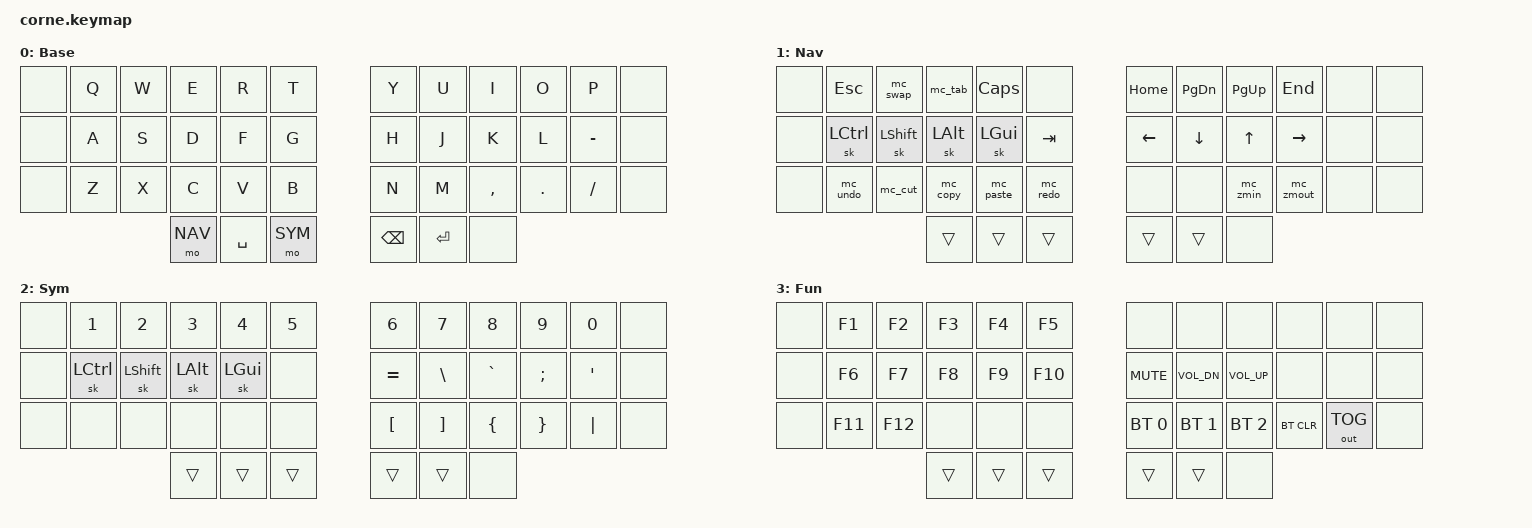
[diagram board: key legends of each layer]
/*
 * Corne 36-key OSM keymap
 * hold-tap 完全排除、Callum式 One-Shot ベース
 * Atreus と同じ設計
 */

#include <behaviors.dtsi>
#include <dt-bindings/zmk/bt.h>
#include <dt-bindings/zmk/keys.h>
#include <dt-bindings/zmk/outputs.h>

#define BASE 0
#define NAV  1
#define SYM  2
#define FUN  3

/ {
    // --- Macros ---
    macros {
        // Swapper（Cmd+Tab: キーを離すまでCmdを保持）
        mc_swap: mc_swap {
            compatible = "zmk,behavior-macro";
            #binding-cells = <0>;
            wait-ms = <30>;
            tap-ms = <30>;
            bindings = <&macro_press &kp LGUI>, <&macro_tap &kp TAB>, <&macro_pause_for_release>, <&macro_release &kp LGUI>;
        };
        // Tabber（Ctrl+Tab: キーを離すまでCtrlを保持）
        mc_tab: mc_tab {
            compatible = "zmk,behavior-macro";
            #binding-cells = <0>;
            wait-ms = <30>;
            tap-ms = <30>;
            bindings = <&macro_press &kp LCTRL>, <&macro_tap &kp TAB>, <&macro_pause_for_release>, <&macro_release &kp LCTRL>;
        };
        // Undo (Cmd+Z)
        mc_undo: mc_undo {
            compatible = "zmk,behavior-macro";
            #binding-cells = <0>;
            wait-ms = <30>;
            tap-ms = <30>;
            bindings = <&macro_press &kp LGUI>, <&macro_tap &kp Z>, <&macro_release &kp LGUI>;
        };
        // Cut (Cmd+X)
        mc_cut: mc_cut {
            compatible = "zmk,behavior-macro";
            #binding-cells = <0>;
            wait-ms = <30>;
            tap-ms = <30>;
            bindings = <&macro_press &kp LGUI>, <&macro_tap &kp X>, <&macro_release &kp LGUI>;
        };
        // Copy (Cmd+C)
        mc_copy: mc_copy {
            compatible = "zmk,behavior-macro";
            #binding-cells = <0>;
            wait-ms = <30>;
            tap-ms = <30>;
            bindings = <&macro_press &kp LGUI>, <&macro_tap &kp C>, <&macro_release &kp LGUI>;
        };
        // Paste (Cmd+V)
        mc_paste: mc_paste {
            compatible = "zmk,behavior-macro";
            #binding-cells = <0>;
            wait-ms = <30>;
            tap-ms = <30>;
            bindings = <&macro_press &kp LGUI>, <&macro_tap &kp V>, <&macro_release &kp LGUI>;
        };
        // Redo (Cmd+Shift+Z)
        mc_redo: mc_redo {
            compatible = "zmk,behavior-macro";
            #binding-cells = <0>;
            wait-ms = <30>;
            tap-ms = <30>;
            bindings = <&macro_press &kp LGUI>, <&macro_press &kp LSHFT>, <&macro_tap &kp Z>, <&macro_release &kp LSHFT>, <&macro_release &kp LGUI>;
        };
        // Zoom In (Cmd+=)
        mc_zmin: mc_zmin {
            compatible = "zmk,behavior-macro";
            #binding-cells = <0>;
            wait-ms = <30>;
            tap-ms = <30>;
            bindings = <&macro_press &kp LGUI>, <&macro_tap &kp EQUAL>, <&macro_release &kp LGUI>;
        };
        // Zoom Out (Cmd+-)
        mc_zmout: mc_zmout {
            compatible = "zmk,behavior-macro";
            #binding-cells = <0>;
            wait-ms = <30>;
            tap-ms = <30>;
            bindings = <&macro_press &kp LGUI>, <&macro_tap &kp MINUS>, <&macro_release &kp LGUI>;
        };
    };

    // --- Combos ---
    // Corne key positions:
    // Row 0:  0  1  2  3  4  5  |  6  7  8  9 10 11
    // Row 1: 12 13 14 15 16 17  | 18 19 20 21 22 23
    // Row 2: 24 25 26 27 28 29  | 30 31 32 33 34 35
    // Thumb:       36 37 38     |    39 40 41
    //            NAV SPC SYM    | BSPC ENT ---
    combos {
        compatible = "zmk,combos";

        // SPC(37) + BSPC(39) → LNG1 (IME ON)
        combo_lng1 {
            timeout-ms = <50>;
            require-prior-idle-ms = <150>;
            key-positions = <37 39>;
            bindings = <&kp LANGUAGE_1>;
            layers = <BASE>;
        };

        // BSPC(39) + ENT(40) → LNG2 (IME OFF)
        combo_lng2 {
            timeout-ms = <50>;
            require-prior-idle-ms = <150>;
            key-positions = <39 40>;
            bindings = <&kp LANGUAGE_2>;
            layers = <BASE>;
        };

        // D(15) + F(16) → Ctrl+B (tmux prefix)
        combo_tmux_prefix {
            timeout-ms = <80>;
            require-prior-idle-ms = <150>;
            key-positions = <15 16>;
            bindings = <&kp LC(B)>;
            layers = <BASE>;
        };
    };

    // --- Conditional Layer (NAV + SYM = FUN) ---
    conditional_layers {
        compatible = "zmk,conditional-layers";
        tri_layer {
            if-layers = <NAV SYM>;
            then-layer = <FUN>;
        };
    };

    // --- Keymap ---
    keymap {
        compatible = "zmk,keymap";

        // Base Layer
        //   Q    W    E    R    T  │  Y    U    I    O    P
        //   A    S    D    F    G  │  H    J    K    L    -
        //   Z    X    C    V    B  │  N    M    ,    .    /
        //             NAV  SPC SYM │  BSPC ENT  ---
        BASE_layer {
            display-name = "Base";
            bindings = <
&none  &kp Q  &kp W  &kp E     &kp R    &kp T        &kp Y     &kp U    &kp I      &kp O    &kp P      &none
&none  &kp A  &kp S  &kp D     &kp F    &kp G        &kp H     &kp J    &kp K      &kp L    &kp MINUS  &none
&none  &kp Z  &kp X  &kp C     &kp V    &kp B        &kp N     &kp M    &kp COMMA  &kp DOT  &kp FSLH   &none
                     &mo NAV   &kp SPC  &mo SYM      &kp BSPC  &kp RET  &none
            >;
        };

        // NAV Layer（左内側親指）
        //   ESC  SWAP STAB CAPS ---  │  HOME PGDN PGUP END  ---
        //   skCTL skSFT skALT skGUI TAB│ LEFT DOWN UP  RGHT ---
        //   UNDO CUT  COPY PST REDO │  ---  ---  ZM+  ZM-  ---
        //             ___  ___  ___ │  ___  ___  ---
        NAV_layer {
            display-name = "Nav";
            bindings = <
&none  &kp ESC      &mc_swap   &mc_tab    &kp CAPS    &none          &kp HOME  &kp PG_DN  &kp PG_UP  &kp END    &none      &none
&none  &sk LCTRL    &sk LSHFT  &sk LALT   &sk LGUI    &kp TAB        &kp LEFT  &kp DOWN   &kp UP     &kp RIGHT  &none      &none
&none  &mc_undo     &mc_cut    &mc_copy   &mc_paste   &mc_redo       &none     &none      &mc_zmin   &mc_zmout  &none      &none
                               &trans     &trans      &trans         &trans    &trans     &none
            >;
        };

        // SYM Layer（左外側親指）
        //   1    2    3    4    5  │  6    7    8    9    0
        //   skCTL skSFT skALT skGUI --- │  =    \    `    ;    '
        //   ---  ---  ---  ---  ---│  [    ]    {    }    |
        //             ___  ___  ___│  ___  ___  ---
        SYM_layer {
            display-name = "Sym";
            bindings = <
&none  &kp N1     &kp N2     &kp N3    &kp N4    &kp N5       &kp N6    &kp N7    &kp N8    &kp N9    &kp N0    &none
&none  &sk LCTRL  &sk LSHFT  &sk LALT  &sk LGUI  &none        &kp EQUAL &kp BSLH  &kp GRAVE &kp SEMI  &kp SQT   &none
&none  &none      &none      &none     &none     &none        &kp LBKT  &kp RBKT  &kp LBRC  &kp RBRC  &kp PIPE  &none
                             &trans    &trans    &trans       &trans    &trans    &none
            >;
        };

        // FUN Layer（NAV + SYM 同時）
        //   F1   F2   F3   F4   F5 │  ---  ---  ---  ---  ---
        //   F6   F7   F8   F9   F10│  MUTE VOLD VOLU ---  ---
        //   F11  F12  ---  ---  ---│  BT0  BT1  BT2  BTCLR OUTTOG
        //             ___  ___  ___│  ___  ___  ---
        FUN_layer {
            display-name = "Fun";
            bindings = <
&none  &kp F1   &kp F2   &kp F3  &kp F4  &kp F5       &none         &none         &none         &none       &none       &none
&none  &kp F6   &kp F7   &kp F8  &kp F9  &kp F10      &kp K_MUTE    &kp K_VOL_DN  &kp K_VOL_UP  &none       &none       &none
&none  &kp F11  &kp F12  &none   &none   &none        &bt BT_SEL 0  &bt BT_SEL 1  &bt BT_SEL 2  &bt BT_CLR  &out OUT_TOG &none
                         &trans  &trans  &trans       &trans        &trans        &none
            >;
        };
    };
};

// --- One-Shot Modifier 設定 ---
&sk {
    release-after-ms = <2000>;
};
